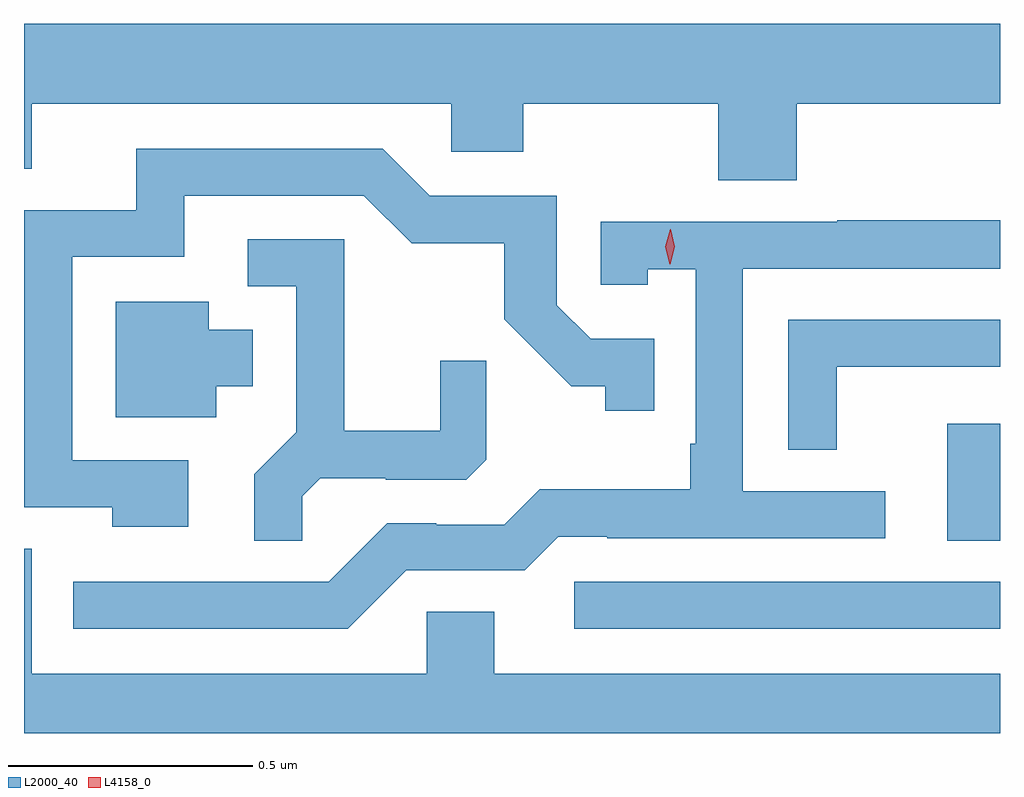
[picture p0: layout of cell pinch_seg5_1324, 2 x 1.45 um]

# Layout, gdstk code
import gdstk
lib = gdstk.Library(unit=1e-6, precision=1e-09)
def R(c, l, rs):  # rectangles x0, y0, x1, y1
    for r in rs: c.add(gdstk.rectangle(r[:2], r[2:], *l))
def P(c, l, *ps):  # polygons
    for p in ps: c.add(gdstk.Polygon(p, *l))
L2000_40 = (2000, 40)
L4158_0 = (4158, 0)

pinch_seg5_1324 = lib.new_cell('pinch_seg5_1324')
R(pinch_seg5_1324, L2000_40, [(390.699,855.684,391.571,855.78), (391.463,855.865,391.571,856.104)])
P(pinch_seg5_1324, L2000_40, [(391.154,856.76),(391.571,856.76),(391.571,856.924),(389.571,856.924),(389.571,856.627),(389.587,856.627),(389.587,856.76),(390.447,856.76),(390.447,856.662),(390.594,856.662),(390.594,856.76),(390.994,856.76),(390.994,856.603),(391.154,856.603)],
  [(389.908,856.029),(389.67,856.029),(389.67,856.446),(389.899,856.446),(389.899,856.572),(390.267,856.572),(390.366,856.474),(390.555,856.474),(390.555,856.318),(390.692,856.181),(390.762,856.181),(390.762,856.131),(390.863,856.131),(390.863,856.278),(390.732,856.278),(390.663,856.347),(390.663,856.572),(390.402,856.572),(390.306,856.668),(389.801,856.668),(389.801,856.542),(389.571,856.542),(389.571,855.933),(389.752,855.933),(389.752,855.893),(389.908,855.893)],
  [(390.354,855.804),(390.597,855.804),(390.666,855.873),(390.766,855.873),(390.766,855.87),(391.336,855.87),(391.336,855.966),(391.044,855.966),(391.044,856.422),(391.571,856.422),(391.571,856.521),(391.237,856.521),(391.237,856.518),(390.753,856.518),(390.753,856.389),(390.849,856.389),(390.849,856.421),(390.948,856.421),(390.948,856.063),(390.936,856.063),(390.936,855.97),(390.628,855.97),(390.555,855.897),(390.416,855.897),(390.416,855.9),(390.315,855.9),(390.195,855.78),(389.672,855.78),(389.672,855.684),(390.234,855.684)],
  [(390.141,855.956),(390.178,855.993),(390.312,855.993),(390.312,855.99),(390.477,855.99),(390.518,856.031),(390.518,856.233),(390.424,856.233),(390.424,856.09),(390.227,856.09),(390.227,856.482),(390.03,856.482),(390.03,856.386),(390.129,856.386),(390.129,856.087),(390.043,856.001),(390.043,855.865),(390.141,855.865)],
  [(389.965,856.181),(390.04,856.181),(390.04,856.297),(389.95,856.297),(389.95,856.354),(389.759,856.354),(389.759,856.118),(389.965,856.118)],
  [(391.236,856.221),(391.571,856.221),(391.571,856.317),(391.137,856.317),(391.137,856.051),(391.236,856.051)],
  [(391.571,855.592),(390.535,855.592),(390.535,855.719),(390.396,855.719),(390.396,855.592),(389.587,855.592),(389.587,855.848),(389.571,855.848),(389.571,855.47),(391.571,855.47)])
P(pinch_seg5_1324, L4158_0, [(390.894,856.431),(390.894,856.431),(390.885,856.467),(390.895,856.503),(390.895,856.503),(390.896,856.503),(390.905,856.467),(390.895,856.431)])

lib.write_gds('pinch_seg5_1324.gds')
